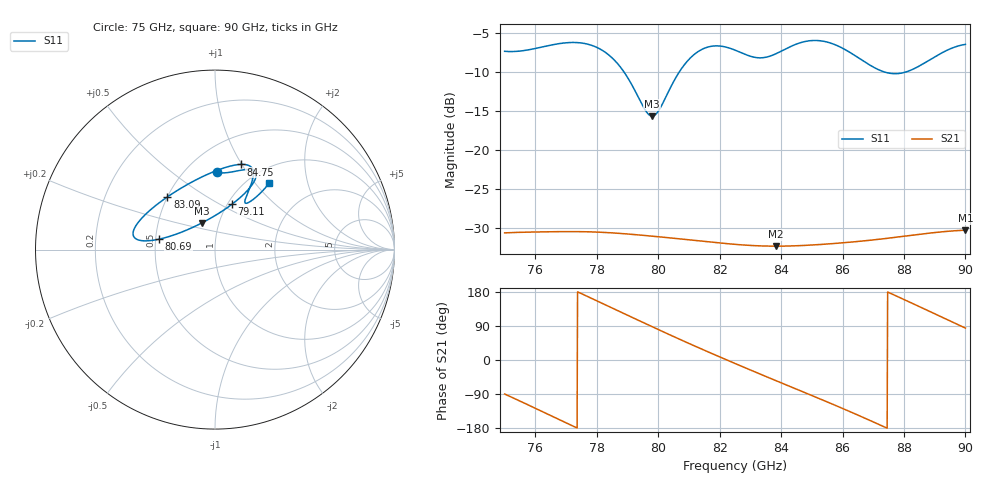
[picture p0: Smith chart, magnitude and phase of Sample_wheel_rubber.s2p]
!SWISSto12 MCK measurement data
!name=Sample_wheel_rubber
!thickness[mm]=12.500
# GHz S RI R 50.0
!freq ReS11 ImS11 ReS21 ImS21 ReS12 ImS12 ReS22 ImS22
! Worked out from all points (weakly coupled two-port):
!   961 points, 75 GHz to 90 GHz, reference 50 ohm
!   highest |S21| = -30.23 dB at 90 GHz (marker M1); lowest = -32.3 dB at 83.84 GHz (marker M2)
!   lowest |S11| = -15.6 dB at 79.8 GHz (marker M3), VSWR 1.40, Z = 41.4 + j12.6 ohm
!   |S11| at or under -10 dB: 78.89 GHz to 80.68 GHz (1.79 GHz wide, 2.24 % of centre); 87.39 GHz to 88.04 GHz (651.6 MHz wide, 0.743 % of centre)
!   S12 and S22 are empty: the file has one direction only
!   S11 on the Smith chart (normalised r, x): 75 GHz: 0.70, +0.74; 79.11 GHz: 1.05, +0.57; 80.69 GHz: 0.52, +0.07; 83.09 GHz: 0.50, +0.35; 84.75 GHz: 0.79, +0.99; 90 GHz: 1.23, +1.18
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75  0.0109 0.4302  0.000167 -0.0296  0 0  0 0
77.5  0.2251 0.4312  -0.03 0.00254  0 0  0 0
78.375  0.2032 0.3563  -0.0234 0.0183  0 0  0 0
78.75  0.1583 0.3065  -0.018 0.0233  0 0  0 0
79.10938  0.0943 0.2525  -0.0118 0.0265  0 0  0 0
79.57812  -0.0154 0.1801  -0.00314 0.0283  0 0  0 0
79.79688  -0.0738 0.1482  0.000944 0.0282  0 0  0 0
80  -0.1299 0.121  0.00463 0.0276  0 0  0 0
80.6875  -0.3123 0.0579  0.0155 0.0222  0 0  0 0
81.14062  -0.4029 0.0492  0.0208 0.0166  0 0  0 0
81.625  -0.4528 0.0727  0.0242 0.00947  0 0  0 0
82.0625  -0.4477 0.1208  0.0253 0.00267  0 0  0 0
82.5  -0.3954 0.1882  0.0247 -0.00398  0 0  0 0
83.09375  -0.2649 0.2938  0.0214 -0.0121  0 0  0 0
83.84375  -0.0578 0.412  0.014 -0.0199  0 0  0 0
84.75  0.1424 0.4747  0.00203 -0.0245  0 0  0 0
85  0.1756 0.4726  -0.00158 -0.0247  0 0  0 0
85.78125  0.2143 0.4206  -0.0128 -0.0219  0 0  0 0
87.5  0.1663 0.2644  -0.0274 0.000819  0 0  0 0
88.15625  0.1867 0.2622  -0.0255 0.0125  0 0  0 0
89.40625  0.2762 0.3391  -0.00873 0.029  0 0  0 0
90  0.2994 0.371  0.00312 0.0307  0 0  0 0
